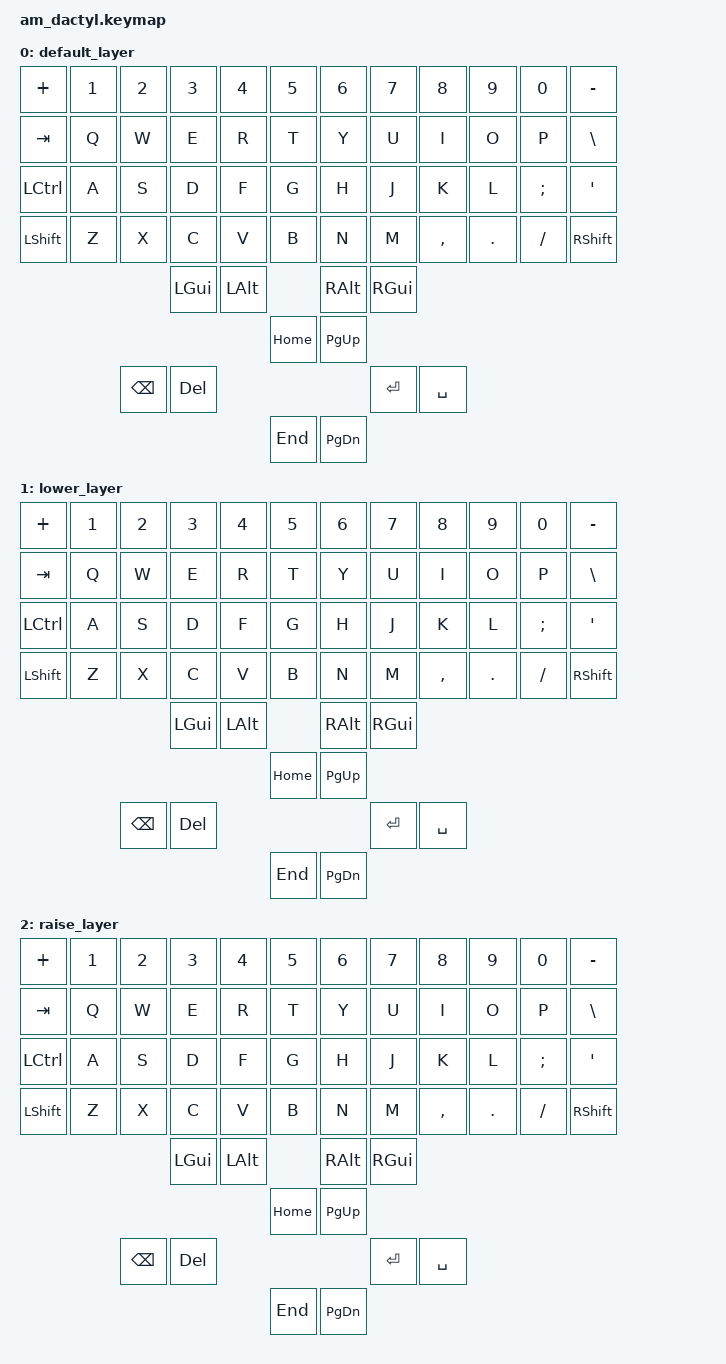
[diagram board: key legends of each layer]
/*
 * Copyright (c) 2020 The ZMK Contributors
 *
 * SPDX-License-Identifier: MIT
 */

#include <behaviors.dtsi>
#include <dt-bindings/zmk/keys.h>
#include <dt-bindings/zmk/bt.h>

/ {
        keymap {
                compatible = "zmk,keymap";

                default_layer {

// | SW1  | SW2  | SW3  | SW4  | SW5  | SW6  |   | SW6  | SW5  | SW4  | SW3  | SW2  | SW1  |
// | SW7  | SW8  | SW9  | SW10 | SW11 | SW12 |   | SW12 | SW11 | SW10 | SW9  | SW8  | SW7  |
// | SW13 | SW14 | SW15 | SW16 | SW17 | SW18 |   | SW18 | SW17 | SW16 | SW15 | SW14 | SW13 |
// | SW19 | SW20 | SW21 | SW22 | SW23 | SW24 |   | SW24 | SW23 | SW22 | SW21 | SW20 | SW19 |
//        | SW25 | SW26 | SW27 | SW28 |                 | SW28 | SW27 | SW26 | SW25 |
//                             | SW29 | SW30 |   | SW30 | SW29 |
//                                    | SW31 |   | SW31 |
//                      | SW32 | SW33 |                 | SW33 | SW32 |
//                                    | SW34 |   | SW34 |

// -----------------------------------------------------------------------------------------
// |    + |  1  |  2  |  3  |  4  |  5  |   |  6  |  7   |  8  |  9  |  10 |  -   |
// |  TAB |  Q  |  W  |  E  |  R  |  T  |   |  Y  |  U   |  I  |  O  |  P  |  \   |
// | CTRL |  A  |  S  |  D  |  F  |  G  |   |  H  |  J   |  K  |  L  |  ;  |  '   |
// | SHFT |  Z  |  X  |  C  |  V  |  B  |   |  N  |  M   |  ,  |  .  |  /  | SHFT |
//        |  `  |  \  | LFT | RGT |               | UP  | DWN  |  [  |  ]  |
//                          | LGUI| LALT|   | RALT| RGUI|
//                                | HOME|   |PG_UP|
//                    |BSPC | DEL |               | ENT | SPC |
//                                | END |   |PG_DN|
                        bindings = <
   &kp PLUS  &kp N1 &kp N2 &kp N3 &kp N4 &kp N5   &kp N6 &kp N7  &kp N8   &kp N9   &kp N0  &kp MINUS
   &kp TAB   &kp Q  &kp W  &kp E  &kp  R &kp T    &kp Y  &kp U  &kp I     &kp O   &kp P    &kp BSLH
   &kp LCTRL &kp A  &kp S  &kp D  &kp  F &kp G    &kp H  &kp J  &kp K     &kp L   &kp SEMI &kp SQT
   &kp LSHFT &kp Z  &kp X  &kp C  &kp  V &kp B    &kp N  &kp M  &kp COMMA &kp DOT &kp FSLH &kp RSHFT
                             &kp LGUI &kp LALT    &kp RALT &kp RGUI
                                      &kp HOME    &kp PG_UP
                   &kp BSPC  &kp DEL                       &kp ENTER &kp SPACE
                                      &kp END     &kp PG_DN
                        >;
                };
                lower_layer {

// | SW1  | SW2  | SW3  | SW4  | SW5  | SW6  |   | SW6  | SW5  | SW4  | SW3  | SW2  | SW1  |
// | SW7  | SW8  | SW9  | SW10 | SW11 | SW12 |   | SW12 | SW11 | SW10 | SW9  | SW8  | SW7  |
// | SW13 | SW14 | SW15 | SW16 | SW17 | SW18 |   | SW18 | SW17 | SW16 | SW15 | SW14 | SW13 |
// | SW19 | SW20 | SW21 | SW22 | SW23 | SW24 |   | SW24 | SW23 | SW22 | SW21 | SW20 | SW19 |
//        | SW25 | SW26 | SW27 | SW28 |                 | SW28 | SW27 | SW26 | SW25 |
//                             | SW29 | SW30 |   | SW30 | SW29 |
//                                    | SW31 |   | SW31 |
//                      | SW32 | SW33 |                 | SW33 | SW32 |
//                                    | SW34 |   | SW34 |

// -----------------------------------------------------------------------------------------
// |    + |  1  |  2  |  3  |  4  |  5  |   |  6  |  7   |  8  |  9  |  10 |  -   |
// |  TAB |  Q  |  W  |  E  |  R  |  T  |   |  Y  |  U   |  I  |  O  |  P  |  \   |
// | CTRL |  A  |  S  |  D  |  F  |  G  |   |  H  |  J   |  K  |  L  |  ;  |  '   |
// | SHFT |  Z  |  X  |  C  |  V  |  B  |   |  N  |  M   |  ,  |  .  |  /  | SHFT |
//        |  `  |  \  | LFT | RGT |               | UP  | DWN  |  [  |  ]  |
//                          | LGUI| LALT|   | RALT| RGUI|
//                                | HOME|   |PG_UP|
//                    |BSPC | DEL |               | ENT | SPC |
//                                | END |   |PG_DN|
                        bindings = <
   &kp PLUS  &kp N1 &kp N2 &kp N3 &kp N4 &kp N5   &kp N6 &kp N7  &kp N8   &kp N9   &kp N0  &kp MINUS
   &kp TAB   &kp Q  &kp W  &kp E  &kp  R &kp T    &kp Y  &kp U  &kp I     &kp O   &kp P    &kp BSLH
   &kp LCTRL &kp A  &kp S  &kp D  &kp  F &kp G    &kp H  &kp J  &kp K     &kp L   &kp SEMI &kp SQT
   &kp LSHFT &kp Z  &kp X  &kp C  &kp  V &kp B    &kp N  &kp M  &kp COMMA &kp DOT &kp FSLH &kp RSHFT
                             &kp LGUI &kp LALT    &kp RALT &kp RGUI
                                      &kp HOME    &kp PG_UP
                   &kp BSPC  &kp DEL                       &kp ENTER &kp SPACE
                                      &kp END     &kp PG_DN
                        >;
                };

                raise_layer {
// | SW1  | SW2  | SW3  | SW4  | SW5  | SW6  |   | SW6  | SW5  | SW4  | SW3  | SW2  | SW1  |
// | SW7  | SW8  | SW9  | SW10 | SW11 | SW12 |   | SW12 | SW11 | SW10 | SW9  | SW8  | SW7  |
// | SW13 | SW14 | SW15 | SW16 | SW17 | SW18 |   | SW18 | SW17 | SW16 | SW15 | SW14 | SW13 |
// | SW19 | SW20 | SW21 | SW22 | SW23 | SW24 |   | SW24 | SW23 | SW22 | SW21 | SW20 | SW19 |
//        | SW25 | SW26 | SW27 | SW28 |                 | SW28 | SW27 | SW26 | SW25 |
//                             | SW29 | SW30 |   | SW30 | SW29 |
//                                    | SW31 |   | SW31 |
//                      | SW32 | SW33 |                 | SW33 | SW32 |
//                                    | SW34 |   | SW34 |

// -----------------------------------------------------------------------------------------
// |    + |  1  |  2  |  3  |  4  |  5  |   |  6  |  7   |  8  |  9  |  10 |  -   |
// |  TAB |  Q  |  W  |  E  |  R  |  T  |   |  Y  |  U   |  I  |  O  |  P  |  \   |
// | CTRL |  A  |  S  |  D  |  F  |  G  |   |  H  |  J   |  K  |  L  |  ;  |  '   |
// | SHFT |  Z  |  X  |  C  |  V  |  B  |   |  N  |  M   |  ,  |  .  |  /  | SHFT |
//        |  `  |  \  | LFT | RGT |               | UP  | DWN  |  [  |  ]  |
//                          | LGUI| LALT|   | RALT| RGUI|
//                                | HOME|   |PG_UP|
//                    |BSPC | DEL |               | ENT | SPC |
//                                | END |   |PG_DN|
                        bindings = <
   &kp PLUS  &kp N1 &kp N2 &kp N3 &kp N4 &kp N5   &kp N6 &kp N7  &kp N8   &kp N9   &kp N0  &kp MINUS
   &kp TAB   &kp Q  &kp W  &kp E  &kp  R &kp T    &kp Y  &kp U  &kp I     &kp O   &kp P    &kp BSLH
   &kp LCTRL &kp A  &kp S  &kp D  &kp  F &kp G    &kp H  &kp J  &kp K     &kp L   &kp SEMI &kp SQT
   &kp LSHFT &kp Z  &kp X  &kp C  &kp  V &kp B    &kp N  &kp M  &kp COMMA &kp DOT &kp FSLH &kp RSHFT
                             &kp LGUI &kp LALT    &kp RALT &kp RGUI
                                      &kp HOME    &kp PG_UP
                   &kp BSPC  &kp DEL                       &kp ENTER &kp SPACE
                                      &kp END     &kp PG_DN
                        >;
                };
        };
};
